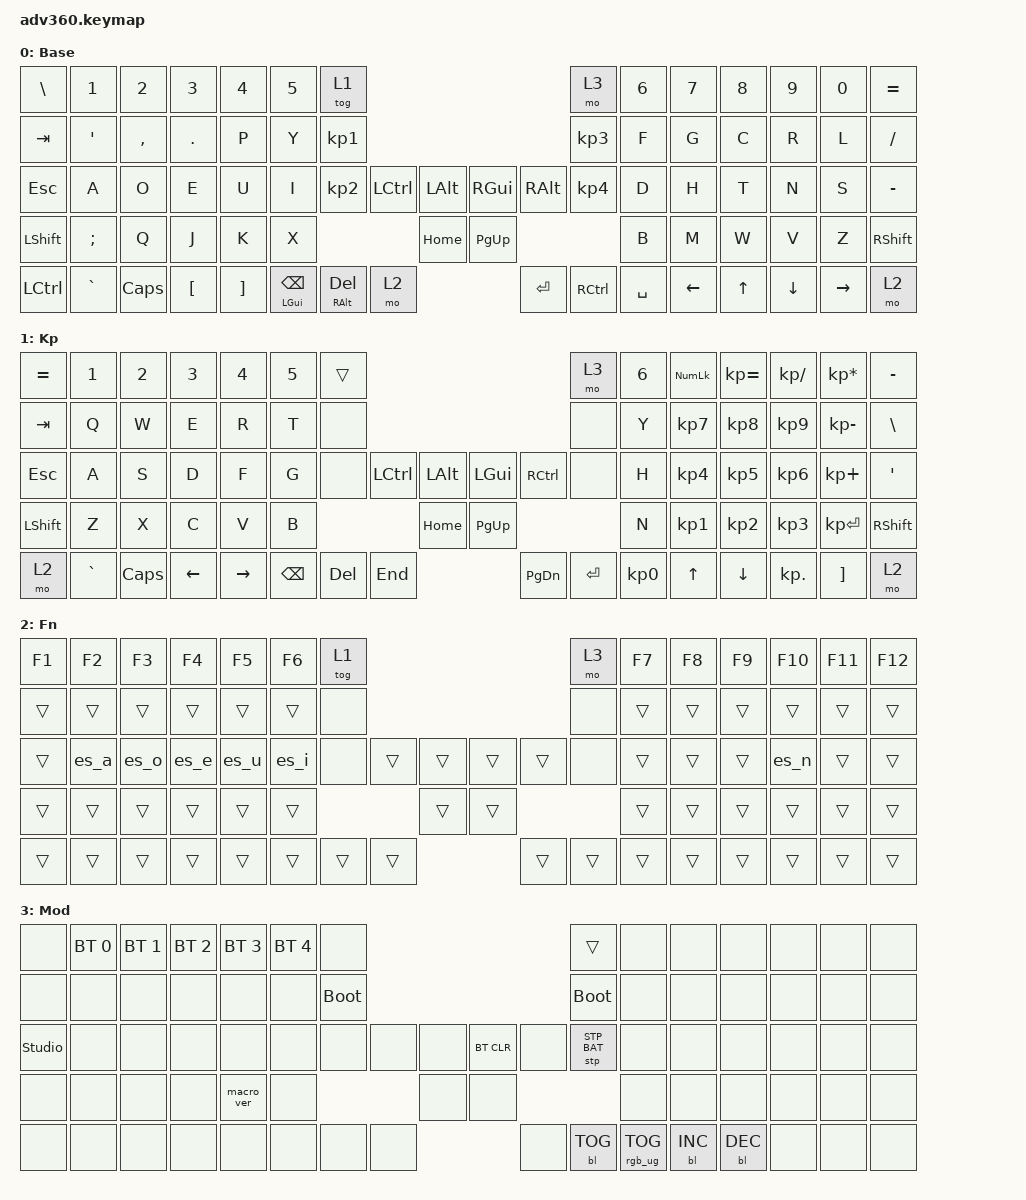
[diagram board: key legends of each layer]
#include <behaviors.dtsi>
#include <dt-bindings/zmk/keys.h>
#include <dt-bindings/zmk/bt.h>
#include <dt-bindings/zmk/rgb.h>
#include <dt-bindings/zmk/stp.h>
#include <dt-bindings/zmk/backlight.h>
#include <dt-bindings/zmk/pointing.h>

/ {
    behaviors {
      #include "macros.dtsi"
      #include "version.dtsi"

      hm: homerow_mods {
          compatible = "zmk,behavior-hold-tap";
          label = "HOMEROW_MODS";
          #binding-cells = <2>;
          tapping-term-ms = <200>;
          quick_tap_ms = <175>;
          flavor = "tap-preferred";
          bindings = <&kp>, <&kp>;
      };

      // Spanish accents through the macOS dead keys: Option+e then a vowel
      // gives the acute vowel, Option+n then n gives ñ.  Left Alt on purpose:
      // Emacs keeps Left Option for macOS and uses Right Option as Meta.
      //
      // es_* is what the Fn layer binds: plain gives the lowercase macro,
      // Shift gives the uppercase one.  The mod-morph hides the held Shift
      // while the macro runs, otherwise macOS would see Shift+Option+e, which
      // is not the dead key; the uppercase macro adds Shift to the vowel itself.
      acute_a: acute_a {
          compatible = "zmk,behavior-macro";
          #binding-cells = <0>;
          display-name = "Acute A";
          bindings = <&kp LA(E) &kp A>;
      };
      acute_a_upper: acute_a_upper {
          compatible = "zmk,behavior-macro";
          #binding-cells = <0>;
          display-name = "Acute A (upper)";
          bindings = <&kp LA(E) &kp LS(A)>;
      };
      es_a: es_a {
          compatible = "zmk,behavior-mod-morph";
          #binding-cells = <0>;
          display-name = "ES A";
          bindings = <&acute_a>, <&acute_a_upper>;
          mods = <(MOD_LSFT|MOD_RSFT)>;
      };
      acute_e: acute_e {
          compatible = "zmk,behavior-macro";
          #binding-cells = <0>;
          display-name = "Acute E";
          bindings = <&kp LA(E) &kp E>;
      };
      acute_e_upper: acute_e_upper {
          compatible = "zmk,behavior-macro";
          #binding-cells = <0>;
          display-name = "Acute E (upper)";
          bindings = <&kp LA(E) &kp LS(E)>;
      };
      es_e: es_e {
          compatible = "zmk,behavior-mod-morph";
          #binding-cells = <0>;
          display-name = "ES E";
          bindings = <&acute_e>, <&acute_e_upper>;
          mods = <(MOD_LSFT|MOD_RSFT)>;
      };
      acute_i: acute_i {
          compatible = "zmk,behavior-macro";
          #binding-cells = <0>;
          display-name = "Acute I";
          bindings = <&kp LA(E) &kp I>;
      };
      acute_i_upper: acute_i_upper {
          compatible = "zmk,behavior-macro";
          #binding-cells = <0>;
          display-name = "Acute I (upper)";
          bindings = <&kp LA(E) &kp LS(I)>;
      };
      es_i: es_i {
          compatible = "zmk,behavior-mod-morph";
          #binding-cells = <0>;
          display-name = "ES I";
          bindings = <&acute_i>, <&acute_i_upper>;
          mods = <(MOD_LSFT|MOD_RSFT)>;
      };
      acute_o: acute_o {
          compatible = "zmk,behavior-macro";
          #binding-cells = <0>;
          display-name = "Acute O";
          bindings = <&kp LA(E) &kp O>;
      };
      acute_o_upper: acute_o_upper {
          compatible = "zmk,behavior-macro";
          #binding-cells = <0>;
          display-name = "Acute O (upper)";
          bindings = <&kp LA(E) &kp LS(O)>;
      };
      es_o: es_o {
          compatible = "zmk,behavior-mod-morph";
          #binding-cells = <0>;
          display-name = "ES O";
          bindings = <&acute_o>, <&acute_o_upper>;
          mods = <(MOD_LSFT|MOD_RSFT)>;
      };
      acute_u: acute_u {
          compatible = "zmk,behavior-macro";
          #binding-cells = <0>;
          display-name = "Acute U";
          bindings = <&kp LA(E) &kp U>;
      };
      acute_u_upper: acute_u_upper {
          compatible = "zmk,behavior-macro";
          #binding-cells = <0>;
          display-name = "Acute U (upper)";
          bindings = <&kp LA(E) &kp LS(U)>;
      };
      es_u: es_u {
          compatible = "zmk,behavior-mod-morph";
          #binding-cells = <0>;
          display-name = "ES U";
          bindings = <&acute_u>, <&acute_u_upper>;
          mods = <(MOD_LSFT|MOD_RSFT)>;
      };
      tilde_n: tilde_n {
          compatible = "zmk,behavior-macro";
          #binding-cells = <0>;
          display-name = "Tilde N";
          bindings = <&kp LA(N) &kp N>;
      };
      tilde_n_upper: tilde_n_upper {
          compatible = "zmk,behavior-macro";
          #binding-cells = <0>;
          display-name = "Tilde N (upper)";
          bindings = <&kp LA(N) &kp LS(N)>;
      };
      es_n: es_n {
          compatible = "zmk,behavior-mod-morph";
          #binding-cells = <0>;
          display-name = "ES N";
          bindings = <&tilde_n>, <&tilde_n_upper>;
          mods = <(MOD_LSFT|MOD_RSFT)>;
      };
    };

  keymap {
    compatible = "zmk,keymap";

    default_layer {
      display-name = "Base";
      bindings = <
        &kp BSLH  &kp N1    &kp N2    &kp N3    &kp N4    &kp N5    &tog 1                                                                            &mo 3     &kp N6    &kp N7    &kp N8    &kp N9    &kp N0    &kp EQUAL
        &kp TAB   &kp SQT   &kp COMMA &kp DOT   &kp P     &kp Y     &kp KP_N1                                                                         &kp KP_N3 &kp F     &kp G     &kp C     &kp R     &kp L     &kp FSLH
        &kp ESC   &kp A     &kp O     &kp E     &kp U     &kp I     &kp KP_N2             &kp LCTRL     &kp LALT      &kp RGUI  &kp RALT              &kp KP_N4 &kp D     &kp H     &kp T     &kp N     &kp S     &kp MINUS
        &kp LSHFT &kp SEMI  &kp Q     &kp J     &kp K     &kp X                                         &kp HOME      &kp PG_UP                                 &kp B     &kp M     &kp W     &kp V     &kp Z     &kp RSHFT
        &kp LCTRL &kp GRAVE &kp CAPS  &kp LBKT  &kp RBKT                      &mt LGUI BSPC &mt RALT DEL  &mo 2         &kp ENTER &kp RCTRL &kp SPACE                     &kp LEFT  &kp UP    &kp DOWN  &kp RIGHT &mo 2
      >;
    };
    keypad {
      display-name = "Kp";
      bindings = <
        &kp EQUAL &kp N1    &kp N2   &kp N3   &kp N4     &kp N5 &trans                                                           &mo 3 &kp N6 &kp KP_NUM &kp KP_EQUAL &kp KP_DIVIDE &kp KP_MULTIPLY &kp MINUS
        &kp TAB   &kp Q     &kp W    &kp E    &kp R      &kp T  &none                                                            &none &kp Y  &kp KP_N7  &kp KP_N8    &kp KP_N9     &kp KP_MINUS    &kp BSLH
        &kp ESC   &kp A     &kp S    &kp D    &kp F      &kp G  &none           &kp LCTRL &kp LALT &kp LGUI  &kp RCTRL           &none &kp H  &kp KP_N4  &kp KP_N5    &kp KP_N6     &kp KP_PLUS     &kp SQT
        &kp LSHFT &kp Z     &kp X    &kp C    &kp V      &kp B                            &kp HOME &kp PG_UP                           &kp N  &kp KP_N1  &kp KP_N2    &kp KP_N3     &kp KP_ENTER    &kp RSHFT
        &mo 2     &kp GRAVE &kp CAPS &kp LEFT &kp RIGHT                &kp BSPC &kp DEL   &kp END  &kp PG_DN &kp ENTER &kp KP_N0              &kp UP     &kp DOWN     &kp KP_DOT    &kp RBKT        &mo 2
      >;
    };
    fn {
      display-name = "Fn";
      bindings = <
        &kp F1 &kp F2    &kp F3    &kp F4    &kp F5    &kp F6    &tog 1                                           &mo 3  &kp F7 &kp F8 &kp F9 &kp F10  &kp F11 &kp F12
        &trans &trans    &trans    &trans    &trans    &trans    &none                                            &none  &trans &trans &trans &trans   &trans  &trans
        &trans &es_a     &es_o     &es_e     &es_u     &es_i     &none        &trans &trans &trans &trans         &none  &trans &trans &trans &es_n    &trans  &trans
        &trans &trans    &trans    &trans    &trans    &trans                       &trans &trans                        &trans &trans &trans &trans   &trans  &trans
        &trans &trans    &trans    &trans    &trans                       &trans &trans &trans &trans &trans &trans              &trans &trans &trans   &trans  &trans
      >;
    };
    mod {
      display-name = "Mod";
      bindings = <
        &none &bt BT_SEL 0 &bt BT_SEL 1 &bt BT_SEL 2 &bt BT_SEL 3 &bt BT_SEL 4 &none                                                                     &trans                 &none        &none        &none        &none &none &none
        &none &none        &none        &none        &none        &none        &bootloader                                                               &bootloader            &none        &none        &none        &none &none &none
        &studio_unlock &none        &none        &none        &none        &none        &none                   &none &none &bt BT_CLR &none                      &stp STP_BAT &none        &none        &none        &none &none &none
        &none &none        &none        &none        &macro_ver   &none                                      &none &none                                                        &none        &none        &none        &none &none &none
        &none &none        &none        &none        &none                                       &none &none &none &none      &bl BL_TOG &rgb_ug RGB_TOG                                     &bl BL_INC   &bl BL_DEC   &none &none &none
      >;
    };
    extra1 {
      display-name = "Red";
      status = "reserved";
    };

    extra2 {
      display-name = "Purple";
      status = "reserved";
    };

    extra3 {
      display-name = "Cyan";
      status = "reserved";
    };

    extra4 {
      display-name = "Yellow";
      status = "reserved";
    };
  };
};
